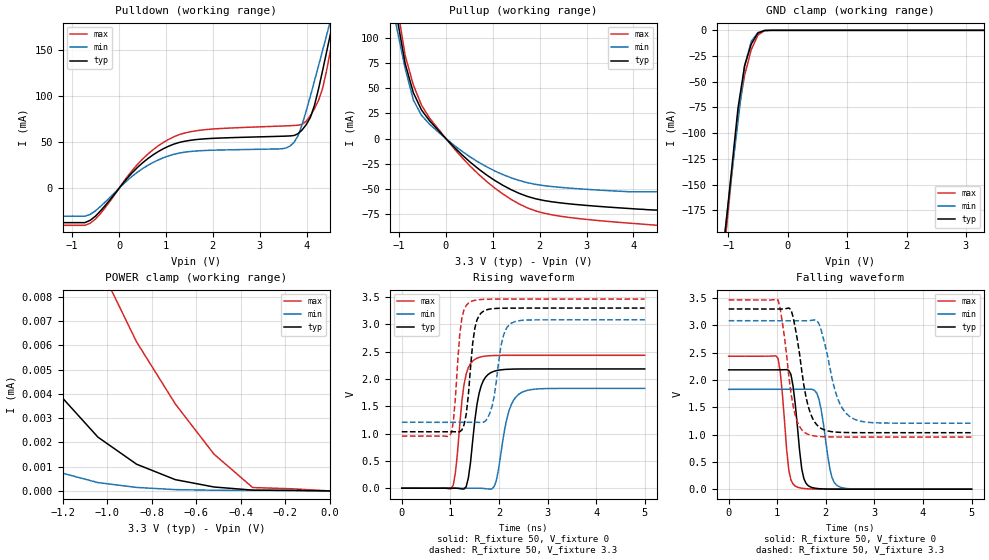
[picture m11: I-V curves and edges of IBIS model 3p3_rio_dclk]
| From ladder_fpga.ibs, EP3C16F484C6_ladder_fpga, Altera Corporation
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[Model] 3p3_rio_dclk
Model_type I/O
Polarity Non-Inverting
Enable Active-Low
Vinl  = 0.8V
Vinh  = 1.7V
Vmeas = 1.5425V
Rref  = 10M
Cref  = 0pF
Vref  = 0V
C_comp  4.4pF   4.4pF   4.4pF
[Temperature Range] 25   85   0
[Voltage Range]   3.3   3.085   3.465
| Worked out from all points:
|   slope of the pulldown table from 0 to 0.495 V, typ, clamps not added: 18.1 ohm
|   slope of the pullup table from 0 to 0.495 V, typ, clamps not added: 22.1 ohm
|   GND clamp passes 1 mA (typ) near -0.43 V on its own axis
|   rising waveform, R_fixture 50, V_fixture 0: 20-80 % time 185ps typ, 230ps min, 165ps max; typ from 0 V to 2.19 V
|   falling waveform, R_fixture 50, V_fixture 0: 20-80 % time 151ps typ, 184ps min, 138ps max; typ from 2.19 V to 0 V
|   rising waveform, R_fixture 50, V_fixture 3.3: 20-80 % time 147ps typ, 190ps min, 130ps max; typ from 1.03 V to 3.3 V
|   falling waveform, R_fixture 50, V_fixture 3.3: 20-80 % time 256ps typ, 317ps min, 224ps max; typ from 3.3 V to 1.03 V
[GND Clamp]
| voltage   I (typ)   I (min)   I (max)
-3.3V     -1.449A    -1.286A    -1.533A
-1.063V   -200.8mA   -197.7mA   -211mA
-950.8mV  -138.4mA   -143.3mA   -144.9mA
-839mV    -75.96mA   -88.9mA    -82.12mA
-727.1mV  -34.33mA   -34.92mA   -43.75mA
-615.2mV  -13.39mA   -10.72mA   -18.82mA
-503.4mV  -2.65mA    -2.136mA   -4.609mA
-391.5mV  -131.9uA   -144.2uA   -303.1uA
-279.7mV  -2.477uA   -5.258uA   -4.774uA
3.3V      0A         0A         0A
[Pulldown]
| voltage   I (typ)   I (min)   I (max)
-3.3V     -37.34mA   -30.28mA   -40.25mA
-727.1mV  -37.34mA   -30.28mA   -40.25mA
-391.5mV  -24.35mA   -19.52mA   -27.19mA
391.5mV   22.64mA    17.54mA    25.93mA
1.063V    45.95mA    35.41mA    53.4mA
3.561V    56.83mA    43.83mA    67.98mA
3.821V    59.52mA    57.5mA     68.68mA
4.082V    77.21mA    100.5mA    79.05mA
4.342V    128.1mA    150.1mA    108.7mA
4.516V    169.6mA    183.6mA    151.4mA
4.603V    190.4mA    200.2mA    175.4mA
6.6V      624.8mA    572.6mA    667.5mA
[POWER Clamp]
| voltage   I (typ)   I (min)   I (max)
-3.3V     255.8uA    174.6uA    337.7uA
-1.911V   28.08uA    11.14uA    68.9uA
-1.737V   17.97uA    6.876uA    39.23uA
-1.563V   11.64uA    3.732uA    28uA
-1.389V   6.958uA    1.745uA    19.82uA
-1.216V   3.98uA     766.9nA    13.7uA
-1.042V   2.218uA    344.4nA    9.42uA
-868.4mV  1.101uA    143.7nA    6.142uA
-694.7mV  465.5nA    54.34nA    3.587uA
-521.1mV  162.3nA    28.75nA    1.518uA
-347.4mV  32.72nA    21.8nA     140nA
0V        0A         0A         0A
[Pullup]
| voltage   I (typ)   I (min)   I (max)
-3.3V     755.9mA    631.6mA    855.2mA
-1.042V   120.1mA    108.5mA    132.6mA
-868.4mV  74.38mA    69.57mA    82.32mA
-694.7mV  45.6mA     38.32mA    53.32mA
-521.1mV  28.42mA    23.13mA    33.19mA
173.7mV   -8.459mA   -6.636mA   -9.864mA
694.7mV   -30.15mA   -23.46mA   -35.42mA
1.216V    -46.46mA   -35.81mA   -55.09mA
1.737V    -57.47mA   -43.82mA   -68.85mA
2.605V    -64.74mA   -49.12mA   -78.23mA
4.866V    -71mA      -52.91mA   -88.1mA
6.6V      -71mA      -52.91mA   -88.1mA
[Ramp]
dV/dt_r   1.311e+000/1.848e-010  1.097e+000/2.296e-010  1.461e+000/1.646e-010
dV/dt_f   1.360e+000/2.562e-010  1.126e+000/3.167e-010  1.506e+000/2.242e-010
R_load = 50ohms
[Rising Waveform]
R_fixture   = 50
V_fixture   = 0
V_fixture_min = 0
V_fixture_max = 0
| time   V (typ)   V (min)   V (max)
0s        0V         0V         0V
1.016ns   7.676uV    -99.64uV   -11.42mV
1.104ns   773.7uV    -76.44uV   291.9mV
1.326ns   30.99mV    -172.3uV   2.095V
1.503ns   1.243V     237.3uV    2.361V
1.636ns   1.881V     -1.272mV   2.407V
1.902ns   2.143V     32.3mV     2.431V
2.168ns   2.178V     1.293V     2.434V
2.433ns   2.184V     1.737V     2.435V
5ns       2.185V     1.828V     2.435V
[Falling Waveform]
R_fixture   = 50
V_fixture   = 0
V_fixture_min = 0
V_fixture_max = 0
| time   V (typ)   V (min)   V (max)
0s        2.185V     1.828V     2.435V
1.016ns   2.185V     1.829V     2.394V
1.237ns   2.175V     1.829V     350.1mV
1.37ns    1.557V     1.829V     56.54mV
1.503ns   376.7mV    1.829V     17.28mV
1.68ns    41.55mV    1.831V     4.201mV
1.858ns   9.275mV    1.647V     1.048mV
2.079ns   1.618mV    390mV      176.7uV
2.256ns   404.7uV    52.98mV    33.78uV
5ns       -1.109uV   1.541uV    -1.491uV
[Rising Waveform]
R_fixture   = 50
V_fixture   = 3.3
V_fixture_min = 3.085
V_fixture_max = 3.465
| time   V (typ)   V (min)   V (max)
0s        1.034V     1.208V     954.2mV
1.016ns   1.034V     1.207V     1.004V
1.237ns   1.067V     1.207V     3.122V
1.326ns   1.353V     1.207V     3.346V
1.415ns   2.208V     1.207V     3.415V
1.592ns   3.165V     1.205V     3.454V
1.813ns   3.282V     1.376V     3.463V
2.079ns   3.298V     2.76V      3.464V
2.256ns   3.299V     3.023V     3.465V
5ns       3.3V       3.085V     3.465V
[Falling Waveform]
R_fixture   = 50
V_fixture   = 3.3
V_fixture_min = 3.085
V_fixture_max = 3.465
| time   V (typ)   V (min)   V (max)
0s        3.3V       3.085V     3.465V
1.016ns   3.299V     3.084V     3.465V
1.149ns   3.302V     3.084V     2.786V
1.282ns   3.289V     3.084V     1.763V
1.415ns   2.732V     3.084V     1.23V
1.592ns   1.686V     3.084V     1.022V
1.858ns   1.141V     3.031V     965mV
2.212ns   1.045V     1.739V     955.2mV
2.522ns   1.036V     1.312V     954.3mV
5ns       1.034V     1.208V     954.2mV
